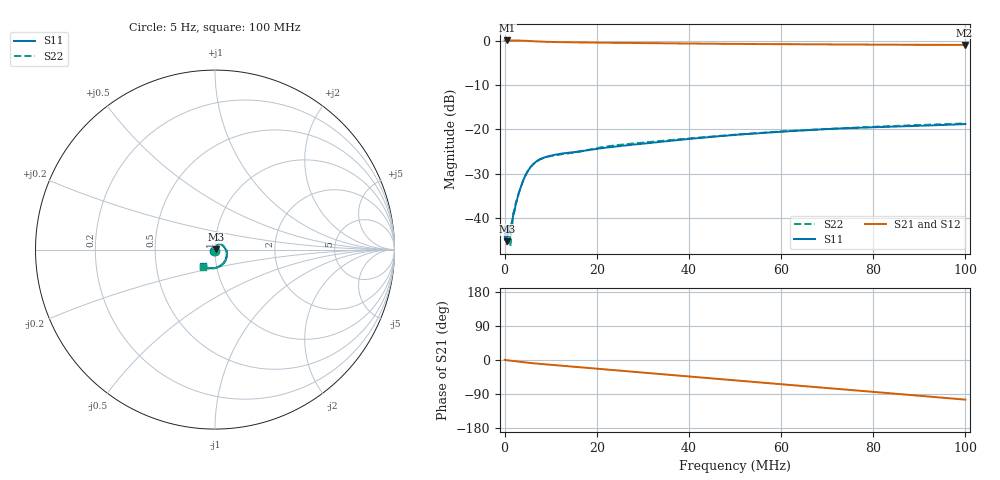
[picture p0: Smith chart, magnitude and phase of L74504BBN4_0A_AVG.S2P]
!Agilent Technologies,E5061B,MY49102235,A.02.00
!Date: Tue Jul 11 16:33:21 2023
!Data & Calibration Information:
!Freq	S11:SOLT2(ON)	S21:SOLT2(ON)	S12:SOLT2(ON)	S22:SOLT2(ON)
# Hz S RI R 50
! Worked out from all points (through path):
!   1600 points, 5 Hz to 100 MHz, reference 50 ohm
!   highest |S21| = 0.02 dB at 625.4 kHz (marker M1); lowest = -1.0 dB at 99.81 MHz (marker M2)
!   group delay of S21, straight-line fit = 2.85 ns
!   lowest |S11| = -45.3 dB at 500.3 kHz (marker M3), VSWR 1.01, Z = 50.5 + j0.277 ohm
!   |S11| at or under -10 dB: start of sweep to end of sweep
!   |S22| runs from -46.4 to -18.7 dB; largest |S21 - S12| = 0.0026
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5  -0.00523 -0.00565  1.002 0.00802  1 0.0102  -0.0015 -0.00755
500317.7  0.0047 0.00275  1.001 -0.0108  1.002 -0.0108  0.00491 0.00118
625395.8  0.00526 0.00341  1.002 -0.0145  1.002 -0.014  0.00628 0.00301
938091.3  0.00465 0.00564  1.001 -0.0211  1.001 -0.0207  0.00621 0.00505
1313326  0.00502 0.0063  1.001 -0.0299  1.001 -0.0302  0.00321 0.00472
1688560  0.00462 0.00829  0.9998 -0.0402  1.001 -0.0403  0.00434 0.00745
2063795  0.00425 0.0112  1 -0.0497  0.9998 -0.0501  0.00469 0.011
2376490  0.00485 0.0129  0.9984 -0.0572  0.9986 -0.0575  0.00548 0.0132
2939342  0.00687 0.0166  0.9969 -0.0715  0.9965 -0.0716  0.00585 0.017
3502194  0.00876 0.0202  0.9943 -0.086  0.9942 -0.0858  0.00787 0.0209
4627897  0.0151 0.027  0.9866 -0.1137  0.9863 -0.1134  0.0147 0.0274
5878679  0.0245 0.0301  0.9747 -0.1408  0.9746 -0.1407  0.0241 0.0303
7442156  0.0348 0.0286  0.9603 -0.1687  0.9602 -0.1686  0.0346 0.0291
9255789  0.0429 0.0238  0.9465 -0.1981  0.9463 -0.198  0.0423 0.0241
1.669794e7  0.0563 0.00639  0.8975 -0.3156  0.8974 -0.3154  0.0561 0.00624
2.345216e7  0.0629 -0.00661  0.8455 -0.4196  0.8453 -0.4194  0.0649 -0.00784
3.333334e7  0.0656 -0.0289  0.7481 -0.5571  0.7481 -0.5569  0.0668 -0.0301
5.003127e7  0.0532 -0.0679  0.5416 -0.7397  0.5415 -0.7395  0.053 -0.0689
6.672921e7  0.0173 -0.0968  0.2991 -0.8541  0.2993 -0.854  0.0181 -0.0971
8.33646e7  -0.0258 -0.1035  0.0387 -0.8968  0.0386 -0.8968  -0.0253 -0.1051
9.981238e7  -0.0672 -0.0923  -0.2218 -0.8637  -0.2218 -0.8639  -0.0671 -0.0946
1e8  -0.0677 -0.0922  -0.2249 -0.863  -0.2248 -0.863  -0.0675 -0.0946
